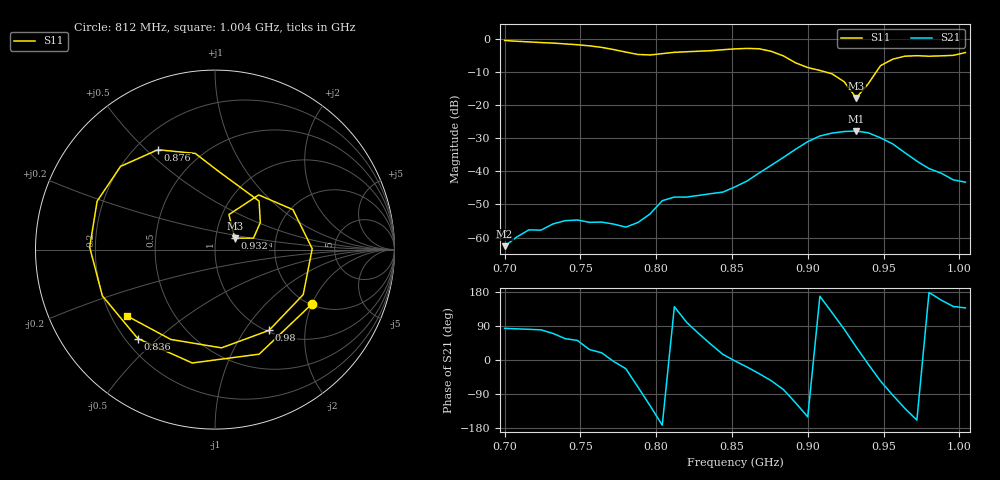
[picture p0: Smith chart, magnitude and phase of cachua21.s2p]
# Hz S RI R 50
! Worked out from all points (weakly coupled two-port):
!   39 points, 700 MHz to 1.004 GHz, reference 50 ohm
!   highest |S21| = -27.87 dB at 932 MHz (marker M1); lowest = -62.6 dB at 700 MHz (marker M2)
!   lowest |S11| = -17.9 dB at 932 MHz (marker M3), VSWR 1.29, Z = 61.8 + j8.01 ohm
!   |S11| at or under -10 dB: 911.1 MHz to 945.3 MHz (34.24 MHz wide, 3.69 % of centre)
!   S12 and S22 are empty: the file has one direction only
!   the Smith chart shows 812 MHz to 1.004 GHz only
!   S11 on the Smith chart (normalised r, x): 812 MHz: 2.04, -2.00; 836 MHz: 0.25, -0.43; 876 MHz: 0.29, +0.54; 932 MHz: 1.24, +0.16; 980 MHz: 1.02, -1.30; 1.004 GHz: 0.26, -0.31
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7e8  0.7699 0.532  8.36e-05 0.000738  0 0  0 0
7.24e8  0.8301 -0.2581  0.000234 0.00127  0 0  0 0
7.4e8  0.4425 -0.7028  0.000999 0.0015  0 0  0 0
7.56e8  -0.1974 -0.7508  0.00151 0.000786  0 0  0 0
7.72e8  -0.6544 -0.1898  0.00159 -0.00011  0 0  0 0
7.8e8  -0.5799 0.2321  0.00132 -0.000564  0 0  0 0
7.88e8  -0.2243 0.5303  0.000533 -0.00161  0 0  0 0
7.96e8  0.2605 0.5022  -0.00117 -0.00196  0 0  0 0
8.04e8  0.5747 0.1458  -0.00356 -0.0005  0 0  0 0
8.12e8  0.5412 -0.3015  -0.00316 0.00259  0 0  0 0
8.2e8  0.246 -0.5826  -0.000692 0.00402  0 0  0 0
8.36e8  -0.4296 -0.496  0.00343 0.00305  0 0  0 0
8.52e8  -0.6982 0.0133  0.0058 -0.000252  0 0  0 0
8.76e8  -0.3178 0.5565  0.00711 -0.0101  0 0  0 0
9e8  0.2454 0.2706  -0.0242 -0.0139  0 0  0 0
9.08e8  0.2486 0.2182  -0.0333 0.00698  0 0  0 0
9.32e8  0.1104 0.0637  0.0336 0.0225  0 0  0 0
9.4e8  0.0774 0.1951  0.0371 -0.00761  0 0  0 0
9.56e8  0.4342 0.2227  -0.0011 -0.0259  0 0  0 0
9.64e8  0.5416 0.00513  -0.0116 -0.0152  0 0  0 0
9.8e8  0.3011 -0.45  -0.011 0.000333  0 0  0 0
1.004e9  -0.4916 -0.3688  -0.00505 0.00463  0 0  0 0
